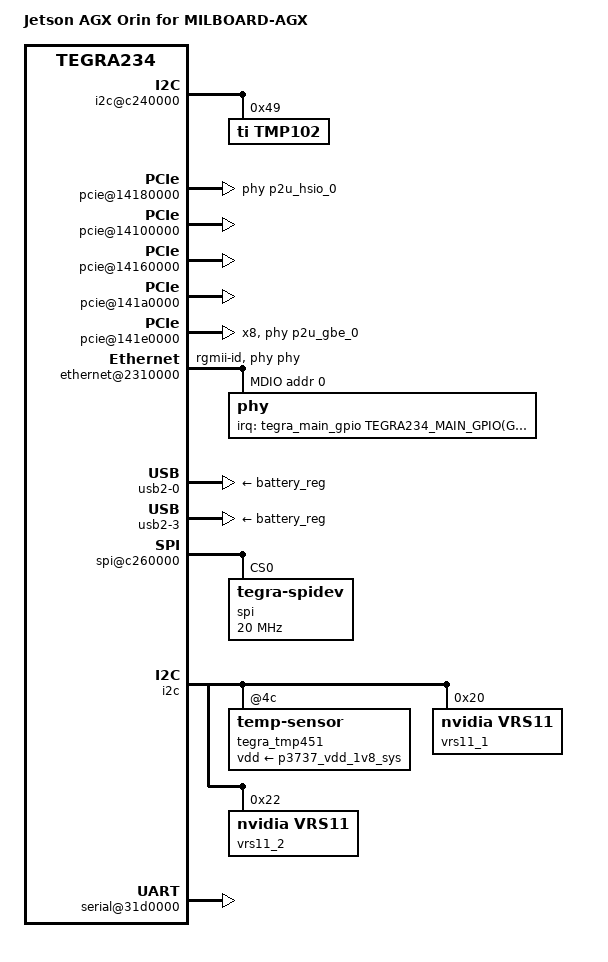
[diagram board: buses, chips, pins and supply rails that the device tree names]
/*
 * Top level DTS file for CVM:P3701-0004 and CVB:MILBOARD-AGX.
 *
 * Copyright (c) 2022-2023, NVIDIA CORPORATION.  All rights reserved.
 *
 * This program is free software; you can redistribute it and/or modify
 * it under the terms of the GNU General Public License as published by
 * the Free Software Foundation; version 2 of the License.
 *
 * This program is distributed in the hope that it will be useful, but WITHOUT
 * ANY WARRANTY; without even the implied warranty of MERCHANTABILITY or
 * FITNESS FOR A PARTICULAR PURPOSE.  See the GNU General Public License for
 * more details.
 */

/dts-v1/;
#include "tegra234-p3701-0000-prod.dtsi"
#include "cvm/tegra234-p3701-0000.dtsi"
#include "cvb/tegra234-p3737-0000-a04.dtsi"
#include "tegra234-power-tree-p3701-0000-p3737-0000.dtsi"
#include "tegra234-dcb-p3701-0000-a02-p3737-0000-a01_hdmi.dtsi"
#include <tegra234-soc/mods-simple-bus.dtsi>

#include <t234-common-cvm/tegra234-cpuidle.dtsi>
#include <t234-common-cvm/tegra234-thermal.dtsi>
#include <t234-common-cvm/tegra234-thermal-cooling.dtsi>
#include <t234-common-cvm/tegra234-thermal-userspace-alert.dtsi>
#include <tegra234-soc/tegra234-soc-hwpm.dtsi>


/ {
	nvidia,dtsfilename = __FILE__;
	nvidia,dtbbuildtime = __DATE__, __TIME__;
	model = "Jetson AGX Orin for MILBOARD-AGX";

	compatible = "nvidia,p3737-0000+p3701-0004", "nvidia,tegra234", "nvidia,tegra23x";

	fixed-regulators {
		p3737_vdd_3v3_pcie: regulator@105 {
			gpio = <&tegra_main_gpio TEGRA234_MAIN_GPIO(H, 4) 0>;
			/delete-property/ regulator-boot-on;
		};
		p3737_vdd_12v_pcie: regulator@114 {
			/delete-property/ regulator-boot-on;
		};
	};

	i2c@c240000 {
		ucsi_ccg@8 {
			status = "disabled";
			connector@0 {
				/delete-node/ port;
			};

			connector@1 {
				/delete-node/ port;
			};
		};
		tmp102: tmp102@49 { // Temperature Sensor
			compatible = "ti,tmp102";
			reg = <0x49>;
			#thermal-sensor-cells = <0>;
		};
	};

	pcie@14180000 { // PCIe x1 (C0)
		status = "okay";
		phys = <&p2u_hsio_0>;
		phy-names = "p2u-0";
	};

	pcie@14100000 { // PCIe x1 (C1)
		status = "okay";
		//nvidia,disable-clock-request; // no CLKREQ signal route from i210 to C1
		nvidia,max-speed = <2>; // i210 is GEN2
	};

	pcie@14160000 { //* PCIe x4 (C4)
		status = "okay";
	};

	pcie@141a0000 { // PCIe x8 (C5)
		status = "okay";
		nvidia,max-speed = <2>;
		/delete-property/ vpcie3v3-supply;
		/delete-property/ vpcie12v-supply;
	};

	pcie_ep@141a0000 {
		status = "disabled";
		nvidia,max-speed = <2>;
	};

	pcie@141e0000 { // PCIe x8 (C7)
		status = "okay";
		num-lanes = <8>;
		phys = <&p2u_gbe_0>, <&p2u_gbe_1>, <&p2u_gbe_2>, <&p2u_gbe_3>,
		       <&p2u_gbe_4>, <&p2u_gbe_5>, <&p2u_gbe_6>, <&p2u_gbe_7>;
		phy-names = "p2u-0", "p2u-1", "p2u-2", "p2u-3", "p2u-4",
			    "p2u-5", "p2u-6", "p2u-7";
	};

	/delete-node/ ethernet@6810000;

	ethernet@6810000 {
		status = "disabled";
	};

	ethernet@6910000 {
		status = "disabled";
	};

	ethernet@6A10000 {
		status = "disabled";
	};

	ethernet@6B10000 {
		status = "disabled";
	};

        /* EQOS */
	ethernet@2310000 {
		status = "okay";

		nvidia,mac-addr-idx = <0>;
		nvidia,pause_frames = <0>;
		local-mac-address = [1a 2b 3c 4d 5e 6f];
		nvidia,phy-reset-gpio = <&tegra_main_gpio TEGRA234_MAIN_GPIO(G, 5) 0>;
		phy-mode = "rgmii-id";
		phy-handle = <&phy>;
		nvidia,max-platform-mtu = <16383>; //8000

		mdio {
			compatible = "nvidia,eqos-mdio";
			#address-cells = <1>;
			#size-cells = <0>;

			phy: phy@0 {
				reg = <0>; //<1>;
				nvidia,phy-rst-pdelay-msec = <224>; /* msec */
				nvidia,phy-rst-duration-usec = <10000>; /* usec */
				interrupt-parent = <&tegra_main_gpio>;
				interrupts = <TEGRA234_MAIN_GPIO(G, 4) IRQ_TYPE_LEVEL_LOW>;
				marvell,copper-mode;
				/* Setup LED[2] as interrupt pin (active low) */
				marvell,reg-init = <0x03 0x12 0x7fff 0x880>;
			};
		};
	};

	fixed-regulators {
		regulator@3 {
			regulator-boot-on;
		};
	};


	xusb_padctl@3520000 {

		ports {
			usb2-0 {
				status = "okay";
				vbus-supply = <&battery_reg>;
				mode = "host";
				/delete-property/ usb-role-switch;
				/delete-node/ port;
			};
			usb2-3 {
				status = "okay";
				vbus-supply = <&battery_reg>;
				mode = "host";
			};
		};
	};

	xudc@3550000 {
		phy-names = "usb2", "usb3";
		/delete-property/  extcon-cables;
		/delete-property/  extcon-cable-names;
		/delete-property/  #extcon-cells;
	};

	xhci@3610000 {
		/delete-property/  extcon-cables;
		/delete-property/  extcon-cable-names;
		/delete-property/  #extcon-cells;
	};

	/delete-node/ tegra_usb_cd;

	fixed-regulators {
		regulator@116 {
			//gpio = <&tegra_aon_gpio TEGRA234_AON_GPIO(CC, 2) 0>; //CAM_INT3, GPIO_ACTIVE_HIGH == 0
			gpio = <&tegra_aon_gpio TEGRA234_AON_GPIO(AA, 5) 0>;
		};
	};

	spi@c260000 {
		status = "okay";

		spi@0 {
			status = "okay";
			compatible = "tegra-spidev";
			reg = <0x0>;
			spi-max-frequency = <20000000>;

			controller-data {
				nvidia,enable-hw-based-cs;
				nvidia,rx-clk-tap-delay = <0x10>;
				nvidia,tx-clk-tap-delay = <0x0>;
			};
		};
	};

	nvsciipc-kernel {
		compatible = "nvidia,nvsciipc";
		status = "okay";
	};

	firmware {
		android {
			compatible = "android,firmware";
			first_stage_delay = "1";
			system_root_blkdev = "/dev/mmcblk0p1";
			fstab {
				compatible = "android,fstab";
				vendor {
					compatible = "android,vendor";
					dev = "/dev/block/platform/3460000.sdhci/by-name/vendor";
					type = "ext4";
					mnt_flags = "ro,noatime";
					fsmgr_flags = "wait";
				};
			};
		};
	};

	display@13800000 {
		status = "okay";
	};

	dce@d800000 {
		status = "okay";
	};

	bpmp {
		i2c {
			tegra_tmp451: temp-sensor@4c {
				vdd-supply = <&p3737_vdd_1v8_sys>;

				ext {
					shutdown-limit = <107>;
				};
			};

			vrs11_1@20 {
				compatible = "nvidia,vrs11";
				reg = <0x20>;
				rail-name-loopA = "GPU";
				rail-name-loopB = "CPU";
				status = "okay";
			};

			vrs11_2@22 {
				compatible = "nvidia,vrs11";
				reg = <0x22>;
				rail-name-loopA = "SOC";
				rail-name-loopB = "CV";
				status = "okay";
			};
		};
	};

	reserved-memory {
		linux,cma {
			status = "okay";
		};
	};

	tegra_soc_hwpm {
                status = "okay";
        };

	tegra-hsp@3d00000 {
		status = "okay";
	};

	aon@c000000 {
		status = "okay";
	};

	cpu_alert: cpu-throttle-alert {
		status = "okay";
	};

	gpu_alert: gpu-throttle-alert {
		status = "okay";
	};

	cv0_alert: cv0-throttle-alert {
		status = "okay";
	};

	cv1_alert: cv1-throttle-alert {
		status = "okay";
	};

	cv2_alert: cv2-throttle-alert {
		status = "okay";
	};

	soc0_alert: soc0-throttle-alert {
		status = "okay";
	};

	soc1_alert: soc1-throttle-alert {
		status = "okay";
	};

	soc2_alert: soc2-throttle-alert {
		status = "okay";
	};

	hot_surface_alert: hot-surface-alert {
		status = "okay";
	};

	stm@24080000 {
		status = "disabled";
	};

	cpu0_etm@27040000 {
		status = "disabled";
	};

	cpu1_etm@27140000 {
		status = "disabled";
	};

	cpu2_etm@27240000 {
		status = "disabled";
	};

	cpu3_etm@27340000 {
		status = "disabled";
	};

	cpu4_etm@27440000 {
		status = "disabled";
	};

	cpu5_etm@27540000 {
		status = "disabled";
	};

	cpu6_etm@27640000 {
		status = "disabled";
	};

	cpu7_etm@27740000 {
		status = "disabled";
	};

	cpu8_etm@27840000 {
		status = "disabled";
	};

	cpu9_etm@27940000 {
		status = "disabled";
	};

	cpu10_etm@27A40000 {
		status = "disabled";
	};

	cpu11_etm@27B40000 {
		status = "disabled";
	};

	funnel_ccplex0@26030000 {
		status = "disabled";
	};

	funnel_ccplex1@26040000 {
		status = "disabled";
	};

	funnel_ccplex2@26050000 {
		status = "disabled";
	};

	funnel_top_ccplex@26020000 {
		status = "disabled";
	};

	funnel_major@24040000 {
		status = "disabled";
	};

	replicator@24060000 {
		status = "disabled";
	};

	etf@24050000 {
		status = "disabled";
	};

	etr@24070000 {
		status = "disabled";
	};

	serial@31d0000 {
		status = "okay";
	};
};
